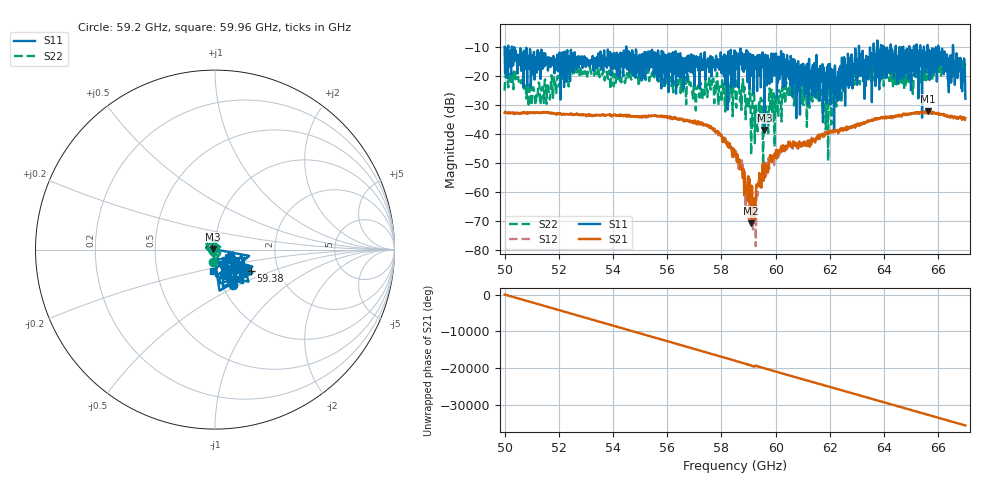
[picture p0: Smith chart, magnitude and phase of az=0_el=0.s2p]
!Created with skrf (http://scikit-rf.org).
# GHz S RI R 50.0
!freq ReS11 ImS11 ReS21 ImS21 ReS12 ImS12 ReS22 ImS22
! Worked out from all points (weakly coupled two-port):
!   1001 points, 50 GHz to 67 GHz, reference 50 ohm
!   highest |S21| = -32.17 dB at 65.62 GHz (marker M1); lowest = -70.8 dB at 59.09 GHz (marker M2)
!   lowest |S11| = -38.6 dB at 59.59 GHz (marker M3), VSWR 1.02, Z = 48.9 + j0.297 ohm
!   |S11| at or under -10 dB: 50.36 GHz to 54.49 GHz (4.13 GHz wide, 7.88 % of centre); 54.49 GHz to 63.07 GHz (8.582 GHz wide, 14.6 % of centre); 63.08 GHz to 63.61 GHz (537.7 MHz wide, 0.849 % of centre) (the widest 3 of 24)
!   |S22| runs from -53.0 to -14.0 dB; largest |S21 - S12| = 0.0021
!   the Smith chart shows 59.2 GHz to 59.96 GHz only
!   S11 on the Smith chart (normalised r, x): 59.2 GHz: 1.12, -0.46; 59.38 GHz: 1.45, -0.37; 59.96 GHz: 0.95, -0.23
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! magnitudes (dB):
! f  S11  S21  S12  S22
! 50 GHz  -9.9  -32.6  -32.7  -25.0
! 50.42 GHz  -13.6  -32.8  -32.6  -21.9
! 51.07 GHz  -11.9  -32.7  -32.6  -24.3
! 52.84 GHz  -14.1  -33.3  -33.2  -19.4
! 55.68 GHz  -13.3  -33.9  -33.9  -21.9
! 56.99 GHz  -14.9  -35.7  -35.7  -21.9
! 57.51 GHz  -13.8  -36.9  -36.9  -23.9
! 58.5 GHz  -23.6  -47.1  -47.7  -24.6
! 59.09 GHz  -19.8  -70.8  -64.9  -47.1
! 59.2 GHz  -13.1  -62.2  -62.8  -22.9
! 59.38 GHz  -12.6  -56.1  -56.4  -28.5
! 59.59 GHz  -38.6  -50.1  -50.9  -29.0
! 59.84 GHz  -12.2  -47.8  -47.6  -25.0
! 59.96 GHz  -18.4  -46.7  -46.9  -44.4
! 60.64 GHz  -14.1  -42.6  -43.8  -22.0
! 61.34 GHz  -26.5  -41.9  -41.6  -25.4
! 62 GHz  -15.7  -39.7  -38.8  -25.1
! 62.6 GHz  -19.6  -38.7  -38.2  -19.1
! 64.18 GHz  -18.7  -34.3  -34.1  -18.3
! 65.62 GHz  -14.1  -32.2  -32.5  -20.8
! 66.75 GHz  -17.3  -34.3  -34.4  -18.3
! 67 GHz  -27.8  -34.4  -34.5  -15.7
